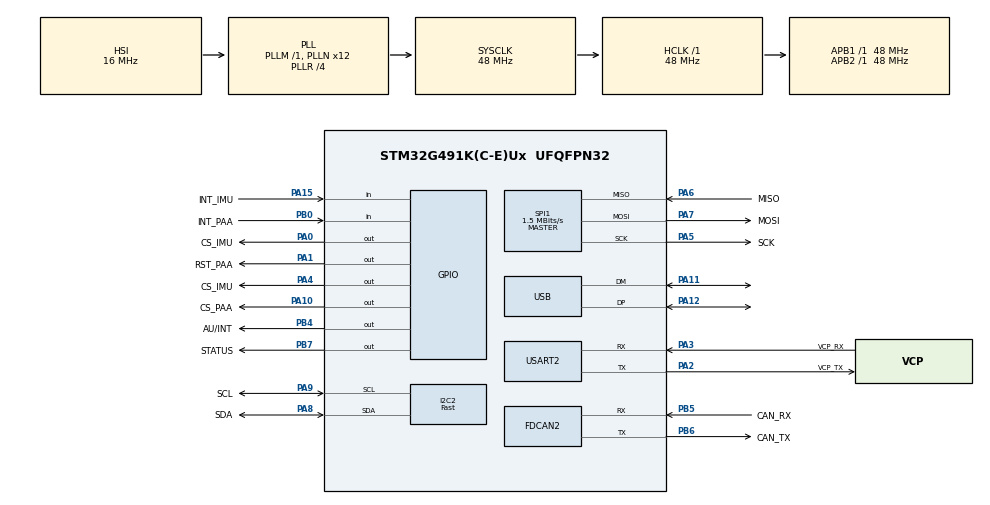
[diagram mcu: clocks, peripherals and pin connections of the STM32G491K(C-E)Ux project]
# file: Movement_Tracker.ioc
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FDCAN2.CalculateBaudRateNominal=1000000
FDCAN2.CalculateTimeBitNominal=1000
FDCAN2.CalculateTimeQuantumNominal=333.3333333333333
I2C2.I2C_Speed_Mode=I2C_Fast
I2C2.OwnAddress=0x66
I2C2.Timing=0x0090194B
Mcu.Family=STM32G4
Mcu.Name=STM32G491K(C-E)Ux
Mcu.Package=UFQFPN32
NVIC.I2C2_ER_IRQn=true\:0\:0\:false\:false\:true\:true\:true\:true
NVIC.I2C2_EV_IRQn=true\:0\:0\:false\:false\:true\:true\:true\:true
NVIC.PriorityGroup=NVIC_PRIORITYGROUP_4
NVIC.USB_LP_IRQn=true\:0\:0\:false\:false\:true\:false\:true\:true
PA0.GPIO_Label=CS_IMU
PA0.GPIO_PuPd=GPIO_PULLUP
PA0.GPIO_Speed=GPIO_SPEED_FREQ_VERY_HIGH
PA0.PinState=GPIO_PIN_SET
PA0.Signal=GPIO_Output
PA1.GPIO_Label=RST_PAA
PA1.GPIO_PuPd=GPIO_NOPULL
PA1.GPIO_Speed=GPIO_SPEED_FREQ_VERY_HIGH
PA1.PinState=GPIO_PIN_SET
PA1.Signal=GPIO_Output
PA10.GPIO_Label=CS_PAA
PA10.GPIO_PuPd=GPIO_PULLUP
PA10.GPIO_Speed=GPIO_SPEED_FREQ_VERY_HIGH
PA10.PinState=GPIO_PIN_SET
PA10.Signal=GPIO_Output
PA11.Mode=Device
PA11.Signal=USB_DM
PA12.Mode=Device
PA12.Signal=USB_DP
PA13.GPIO_Label=SWDIO
PA13.Mode=Trace_Asynchronous_SW
PA13.Signal=SYS_JTMS-SWDIO
PA14.GPIO_Label=SWCLK
PA14.Mode=Trace_Asynchronous_SW
PA14.Signal=SYS_JTCK-SWCLK
PA15.GPIO_Label=INT_IMU
PA15.GPIO_PuPd=GPIO_PULLUP
PA15.Signal=GPIO_Input
PA2.GPIO_Label=VCP_TX
PA2.Mode=Asynchronous
PA2.Signal=USART2_TX
PA3.GPIO_Label=VCP_RX
PA3.Mode=Asynchronous
PA3.Signal=USART2_RX
PA4.GPIO_Label=CS_IMU
PA4.GPIO_Speed=GPIO_SPEED_FREQ_VERY_HIGH
PA4.PinState=GPIO_PIN_SET
PA4.Signal=GPIO_Output
PA5.GPIO_Label=SCK
PA5.Mode=Full_Duplex_Master
PA5.Signal=SPI1_SCK
PA6.GPIO_Label=MISO
PA6.Mode=Full_Duplex_Master
PA6.Signal=SPI1_MISO
PA7.GPIO_Label=MOSI
PA7.Mode=Full_Duplex_Master
PA7.Signal=SPI1_MOSI
PA8.GPIO_Label=SDA
PA8.GPIO_Pu=GPIO_PULLUP
PA8.Mode=I2C
PA8.Signal=I2C2_SDA
PA9.GPIO_Label=SCL
PA9.GPIO_Pu=GPIO_PULLUP
PA9.Mode=I2C
PA9.Signal=I2C2_SCL
PB0.GPIO_Label=INT_PAA
PB0.GPIO_PuPd=GPIO_PULLUP
PB0.Signal=GPIO_Input
PB3.GPIO_Label=SWO
PB3.Mode=Trace_Asynchronous_SW
PB3.Signal=SYS_JTDO-SWO
PB4.GPIO_Label=AU/INT
PB4.Signal=SharedStack_PB4
PB4.Stacked=true
PB5.GPIO_Label=CAN_RX
PB5.Mode=FDCAN_Activate
PB5.Signal=FDCAN2_RX
PB6.GPIO_Label=CAN_TX
PB6.Mode=FDCAN_Activate
PB6.Signal=FDCAN2_TX
PB7.GPIO_Label=STATUS
PB7.GPIO_Speed=GPIO_SPEED_FREQ_VERY_HIGH
PB7.Signal=GPIO_Output
ProjectManager.HeapSize=0x200
ProjectManager.StackSize=0x400
ProjectManager.TargetToolchain=STM32CubeIDE
RCC.ADC12Freq_Value=48000000
RCC.ADC345Freq_Value=48000000
RCC.AHBFreq_Value=48000000
RCC.APB1Freq_Value=48000000
RCC.APB1TimFreq_Value=48000000
RCC.APB2Freq_Value=48000000
RCC.APB2TimFreq_Value=48000000
RCC.CortexFreq_Value=48000000
RCC.EXTERNAL_CLOCK_VALUE=12288000
RCC.HCLKFreq_Value=48000000
RCC.HSE_VALUE=8000000
RCC.HSI48_VALUE=48000000
RCC.HSI_VALUE=16000000
RCC.LSE_VALUE=32768
RCC.PLLN=12
RCC.PLLR=RCC_PLLR_DIV4
RCC.SYSCLKFreq_VALUE=48000000
RCC.SYSCLKSource=RCC_SYSCLKSOURCE_PLLCLK
RCC.USBFreq_Value=48000000
RCC.VCOOutputFreq_Value=192000000
SH.SharedStack_PB4.0=GPIO_Output+0
SH.SharedStack_PB4.1=GPIO_EXTI4
SPI1.BaudRatePrescaler=SPI_BAUDRATEPRESCALER_32
SPI1.CLKPhase=SPI_PHASE_2EDGE
SPI1.CLKPolarity=SPI_POLARITY_HIGH
SPI1.CalculateBaudRate=1.5 MBits/s
SPI1.DataSize=SPI_DATASIZE_8BIT
SPI1.Direction=SPI_DIRECTION_2LINES
SPI1.FirstBit=SPI_FIRSTBIT_MSB
SPI1.Mode=SPI_MODE_MASTER
SPI1.VirtualType=VM_MASTER
USART2.VirtualMode-Asynchronous=VM_ASYNC
USB_DEVICE.CLASS_NAME_FS=CDC
USB_DEVICE.VirtualMode=Cdc
USB_DEVICE.VirtualModeFS=Cdc_FS
VP_SYS_VS_DBSignals.Mode=DisableDeadBatterySignals
VP_USB_DEVICE_VS_USB_DEVICE_CDC_FS.Mode=CDC_FS
board=custom

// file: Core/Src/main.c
/* USER CODE BEGIN Header */
/**
  ******************************************************************************
  * @file           : main.c
  * @brief          : Main program body
  ******************************************************************************
  * @attention
  *
  * Copyright (c) 2023 STMicroelectronics.
  * All rights reserved.
  *
  * This software is licensed under terms that can be found in the LICENSE file
  * in the root directory of this software component.
  * If no LICENSE file comes with this software, it is provided AS-IS.
  *
  ******************************************************************************
  */
/* USER CODE END Header */
#include "main.h"
#include "usb_device.h"

/* USER CODE BEGIN Includes */
#include "runtime.h"

#include <stdio.h>

#include "PAA5163.h"
/* USER CODE END Includes */

FDCAN_HandleTypeDef hfdcan2;

I2C_HandleTypeDef hi2c2;

SPI_HandleTypeDef hspi1;

UART_HandleTypeDef huart2;

void SystemClock_Config(void);
static void MX_GPIO_Init(void);
static void MX_FDCAN2_Init(void);
static void MX_I2C2_Init(void);
static void MX_SPI1_Init(void);
static void MX_USART2_UART_Init(void);

/* USER CODE BEGIN 0 */
int __io_putchar(char ch)
{
  HAL_UART_Transmit(&huart2, (uint8_t *)&ch, 1, HAL_MAX_DELAY);
  return ch;
}

int __io_getchar(void)
{
	char ch;
	HAL_UART_Receive(&huart2, (uint8_t *)&ch, 1, 1);
	return ch;
}

/* USER CODE END 0 */

int main(void)
{

  /* MCU Configuration--------------------------------------------------------*/

  /* Reset of all peripherals, Initializes the Flash interface and the Systick. */
  HAL_Init();

  /* Configure the system clock */
  SystemClock_Config();

  /* Initialize all configured peripherals */
  MX_GPIO_Init();
  MX_FDCAN2_Init();
  MX_I2C2_Init();
  MX_SPI1_Init();
  MX_USART2_UART_Init();
  MX_USB_Device_Init();
  /* USER CODE BEGIN 2 */
  HAL_GPIO_WritePin(RST_PAA_GPIO_Port, RST_PAA_Pin, GPIO_PIN_RESET); // turn off and deselect both sensors
  HAL_GPIO_WritePin(CS_PAA_GPIO_Port, CS_PAA_Pin, GPIO_PIN_SET);
  HAL_GPIO_WritePin(CS_IMU_GPIO_Port, CS_IMU_Pin, GPIO_PIN_SET);

  printf("\n=== HAL init done, proceeding ===\n");

  printf("Movement Tracker V5, Firmware V2, Flashed on %s at %s\n", __DATE__, __TIME__);

  setup();
  printf("=== User init done, proceeding ===\n");
  /* USER CODE END 2 */

  /* Infinite loop */
  /* USER CODE BEGIN WHILE */
  while (1)
  {
	  loop();
    /* USER CODE END WHILE */

  }
}

void SystemClock_Config(void)
{
  RCC_OscInitTypeDef RCC_OscInitStruct = {0};
  RCC_ClkInitTypeDef RCC_ClkInitStruct = {0};

  /** Configure the main internal regulator output voltage
  */
  HAL_PWREx_ControlVoltageScaling(PWR_REGULATOR_VOLTAGE_SCALE1);

  /** Initializes the RCC Oscillators according to the specified parameters
  * in the RCC_OscInitTypeDef structure.
  */
  RCC_OscInitStruct.OscillatorType = RCC_OSCILLATORTYPE_HSI|RCC_OSCILLATORTYPE_HSI48;
  RCC_OscInitStruct.HSIState = RCC_HSI_ON;
  RCC_OscInitStruct.HSICalibrationValue = RCC_HSICALIBRATION_DEFAULT;
  RCC_OscInitStruct.HSI48State = RCC_HSI48_ON;
  RCC_OscInitStruct.PLL.PLLState = RCC_PLL_ON;
  RCC_OscInitStruct.PLL.PLLSource = RCC_PLLSOURCE_HSI;
  RCC_OscInitStruct.PLL.PLLM = RCC_PLLM_DIV1;
  RCC_OscInitStruct.PLL.PLLN = 12;
  RCC_OscInitStruct.PLL.PLLP = RCC_PLLP_DIV2;
  RCC_OscInitStruct.PLL.PLLQ = RCC_PLLQ_DIV2;
  RCC_OscInitStruct.PLL.PLLR = RCC_PLLR_DIV4;
  if (HAL_RCC_OscConfig(&RCC_OscInitStruct) != HAL_OK)
  {
    Error_Handler();
  }

  /** Initializes the CPU, AHB and APB buses clocks
  */
  RCC_ClkInitStruct.ClockType = RCC_CLOCKTYPE_HCLK|RCC_CLOCKTYPE_SYSCLK
                              |RCC_CLOCKTYPE_PCLK1|RCC_CLOCKTYPE_PCLK2;
  RCC_ClkInitStruct.SYSCLKSource = RCC_SYSCLKSOURCE_PLLCLK;
  RCC_ClkInitStruct.AHBCLKDivider = RCC_SYSCLK_DIV1;
  RCC_ClkInitStruct.APB1CLKDivider = RCC_HCLK_DIV1;
  RCC_ClkInitStruct.APB2CLKDivider = RCC_HCLK_DIV1;

  if (HAL_RCC_ClockConfig(&RCC_ClkInitStruct, FLASH_LATENCY_1) != HAL_OK)
  {
    Error_Handler();
  }
}

static void MX_FDCAN2_Init(void)
{

  hfdcan2.Instance = FDCAN2;
  hfdcan2.Init.ClockDivider = FDCAN_CLOCK_DIV1;
  hfdcan2.Init.FrameFormat = FDCAN_FRAME_CLASSIC;
  hfdcan2.Init.Mode = FDCAN_MODE_NORMAL;
  hfdcan2.Init.AutoRetransmission = DISABLE;
  hfdcan2.Init.TransmitPause = DISABLE;
  hfdcan2.Init.ProtocolException = DISABLE;
  hfdcan2.Init.NominalPrescaler = 16;
  hfdcan2.Init.NominalSyncJumpWidth = 1;
  hfdcan2.Init.NominalTimeSeg1 = 1;
  hfdcan2.Init.NominalTimeSeg2 = 1;
  hfdcan2.Init.DataPrescaler = 1;
  hfdcan2.Init.DataSyncJumpWidth = 1;
  hfdcan2.Init.DataTimeSeg1 = 1;
  hfdcan2.Init.DataTimeSeg2 = 1;
  hfdcan2.Init.StdFiltersNbr = 0;
  hfdcan2.Init.ExtFiltersNbr = 0;
  hfdcan2.Init.TxFifoQueueMode = FDCAN_TX_FIFO_OPERATION;
  if (HAL_FDCAN_Init(&hfdcan2) != HAL_OK)
  {
    Error_Handler();
  }

}

static void MX_I2C2_Init(void)
{

  hi2c2.Instance = I2C2;
  hi2c2.Init.Timing = 0x0090194B;
  hi2c2.Init.OwnAddress1 = 0x84;  /* 7-bit address 0x42, shifted: 0x42 << 1 */
  hi2c2.Init.AddressingMode = I2C_ADDRESSINGMODE_7BIT;
  hi2c2.Init.DualAddressMode = I2C_DUALADDRESS_DISABLE;
  hi2c2.Init.OwnAddress2 = 0;
  hi2c2.Init.OwnAddress2Masks = I2C_OA2_NOMASK;
  hi2c2.Init.GeneralCallMode = I2C_GENERALCALL_DISABLE;
  hi2c2.Init.NoStretchMode = I2C_NOSTRETCH_DISABLE;
  if (HAL_I2C_Init(&hi2c2) != HAL_OK)
  {
    Error_Handler();
  }

  /** Configure Analogue filter
  */
  if (HAL_I2CEx_ConfigAnalogFilter(&hi2c2, I2C_ANALOGFILTER_ENABLE) != HAL_OK)
  {
    Error_Handler();
  }

  /** Configure Digital filter
  */
  if (HAL_I2CEx_ConfigDigitalFilter(&hi2c2, 0) != HAL_OK)
  {
    Error_Handler();
  }

}

static void MX_SPI1_Init(void)
{

  /* SPI1 parameter configuration*/
  hspi1.Instance = SPI1;
  hspi1.Init.Mode = SPI_MODE_MASTER;
  hspi1.Init.Direction = SPI_DIRECTION_2LINES;
  hspi1.Init.DataSize = SPI_DATASIZE_8BIT;
  hspi1.Init.CLKPolarity = SPI_POLARITY_HIGH;
  hspi1.Init.CLKPhase = SPI_PHASE_2EDGE;
  hspi1.Init.NSS = SPI_NSS_SOFT;
  hspi1.Init.BaudRatePrescaler = SPI_BAUDRATEPRESCALER_32;
  hspi1.Init.FirstBit = SPI_FIRSTBIT_MSB;
  hspi1.Init.TIMode = SPI_TIMODE_DISABLE;
  hspi1.Init.CRCCalculation = SPI_CRCCALCULATION_DISABLE;
  hspi1.Init.CRCPolynomial = 7;
  hspi1.Init.CRCLength = SPI_CRC_LENGTH_DATASIZE;
  hspi1.Init.NSSPMode = SPI_NSS_PULSE_DISABLE;
  if (HAL_SPI_Init(&hspi1) != HAL_OK)
  {
    Error_Handler();
  }

}

static void MX_USART2_UART_Init(void)
{

  huart2.Instance = USART2;
  huart2.Init.BaudRate = 115200;
  huart2.Init.WordLength = UART_WORDLENGTH_8B;
  huart2.Init.StopBits = UART_STOPBITS_1;
  huart2.Init.Parity = UART_PARITY_NONE;
  huart2.Init.Mode = UART_MODE_TX_RX;
  huart2.Init.HwFlowCtl = UART_HWCONTROL_NONE;
  huart2.Init.OverSampling = UART_OVERSAMPLING_16;
  huart2.Init.OneBitSampling = UART_ONE_BIT_SAMPLE_DISABLE;
  huart2.Init.ClockPrescaler = UART_PRESCALER_DIV1;
  huart2.AdvancedInit.AdvFeatureInit = UART_ADVFEATURE_NO_INIT;
  if (HAL_UART_Init(&huart2) != HAL_OK)
  {
    Error_Handler();
  }
  if (HAL_UARTEx_SetTxFifoThreshold(&huart2, UART_TXFIFO_THRESHOLD_1_8) != HAL_OK)
  {
    Error_Handler();
  }
  if (HAL_UARTEx_SetRxFifoThreshold(&huart2, UART_RXFIFO_THRESHOLD_1_8) != HAL_OK)
  {
    Error_Handler();
  }
  if (HAL_UARTEx_DisableFifoMode(&huart2) != HAL_OK)
  {
    Error_Handler();
  }

}

static void MX_GPIO_Init(void)
{
  GPIO_InitTypeDef GPIO_InitStruct = {0};

  /* GPIO Ports Clock Enable */
  __HAL_RCC_GPIOA_CLK_ENABLE();
  __HAL_RCC_GPIOB_CLK_ENABLE();

  /*Configure GPIO pin Output Level */
  HAL_GPIO_WritePin(GPIOA, CS_IMU_Pin|RST_PAA_Pin|CS_IMUA4_Pin|CS_PAA_Pin, GPIO_PIN_SET);

  /*Configure GPIO pin Output Level */
  HAL_GPIO_WritePin(STATUS_GPIO_Port, STATUS_Pin, GPIO_PIN_RESET);

  /*Configure GPIO pins : CS_IMU_Pin CS_PAA_Pin */
  GPIO_InitStruct.Pin = CS_IMU_Pin|CS_PAA_Pin;
  GPIO_InitStruct.Mode = GPIO_MODE_OUTPUT_PP;
  GPIO_InitStruct.Pull = GPIO_PULLUP;
  GPIO_InitStruct.Speed = GPIO_SPEED_FREQ_VERY_HIGH;
  HAL_GPIO_Init(GPIOA, &GPIO_InitStruct);

  /*Configure GPIO pins : RST_PAA_Pin CS_IMUA4_Pin */
  GPIO_InitStruct.Pin = RST_PAA_Pin|CS_IMUA4_Pin;
  GPIO_InitStruct.Mode = GPIO_MODE_OUTPUT_PP;
  GPIO_InitStruct.Pull = GPIO_NOPULL;
  GPIO_InitStruct.Speed = GPIO_SPEED_FREQ_VERY_HIGH;
  HAL_GPIO_Init(GPIOA, &GPIO_InitStruct);

  /*Configure GPIO pin : INT_PAA_Pin */
  GPIO_InitStruct.Pin = INT_PAA_Pin;
  GPIO_InitStruct.Mode = GPIO_MODE_INPUT;
  GPIO_InitStruct.Pull = GPIO_PULLUP;
  HAL_GPIO_Init(INT_PAA_GPIO_Port, &GPIO_InitStruct);

  /*Configure GPIO pin : INT_IMU_Pin */
  GPIO_InitStruct.Pin = INT_IMU_Pin;
  GPIO_InitStruct.Mode = GPIO_MODE_INPUT;
  GPIO_InitStruct.Pull = GPIO_PULLUP;
  HAL_GPIO_Init(INT_IMU_GPIO_Port, &GPIO_InitStruct);

  /*Configure GPIO pin : AU_INT_Pin */
  GPIO_InitStruct.Pin = AU_INT_Pin;
  GPIO_InitStruct.Mode = GPIO_MODE_IT_RISING;
  GPIO_InitStruct.Pull = GPIO_NOPULL;
  HAL_GPIO_Init(AU_INT_GPIO_Port, &GPIO_InitStruct);

  /*Configure GPIO pin : STATUS_Pin */
  GPIO_InitStruct.Pin = STATUS_Pin;
  GPIO_InitStruct.Mode = GPIO_MODE_OUTPUT_PP;
  GPIO_InitStruct.Pull = GPIO_NOPULL;
  GPIO_InitStruct.Speed = GPIO_SPEED_FREQ_VERY_HIGH;
  HAL_GPIO_Init(STATUS_GPIO_Port, &GPIO_InitStruct);

}

void Error_Handler(void)
{
  __disable_irq();
  while (1)
  {
  }
}
